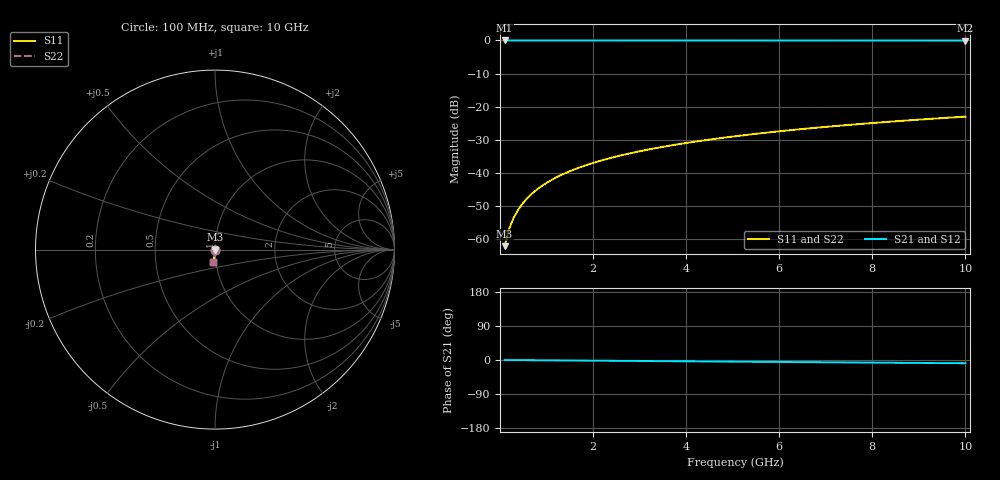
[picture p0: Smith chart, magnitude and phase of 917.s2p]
# Hz S RI R 50.00
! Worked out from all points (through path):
!   100 points, 100 MHz to 10 GHz, reference 50 ohm
!   highest |S21| = 0.00 dB at 100 MHz (marker M1); lowest = 0.0 dB at 10 GHz (marker M2)
!   group delay of S21, straight-line fit = 2.39 ps
!   lowest |S11| = -62.0 dB at 100 MHz (marker M3), VSWR 1.00, Z = 50 - j0.0711 ohm
!   |S11| at or under -10 dB: start of sweep to end of sweep
!   |S22| runs from -62.0 to -23.0 dB; largest |S21 - S12| = 0
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1e8  0.000348 -0.000711  0.9996 -0.0015  0.9996 -0.0015  0.000348 -0.000711
2e8  0.000346 -0.00142  0.9996 -0.00299  0.9996 -0.00299  0.000346 -0.00142
3e8  0.000342 -0.00213  0.9996 -0.00449  0.9996 -0.00449  0.000342 -0.00213
4e8  0.000335 -0.00284  0.9996 -0.00598  0.9996 -0.00598  0.000335 -0.00284
5e8  0.000325 -0.00355  0.9996 -0.00748  0.9996 -0.00748  0.000325 -0.00355
6e8  0.000314 -0.00427  0.9996 -0.00897  0.9996 -0.00897  0.000314 -0.00427
7e8  0.0003 -0.00498  0.9996 -0.0105  0.9996 -0.0105  0.0003 -0.00498
8e8  0.000284 -0.00569  0.9995 -0.012  0.9995 -0.012  0.000284 -0.00569
9e8  0.000265 -0.0064  0.9995 -0.0135  0.9995 -0.0135  0.000265 -0.0064
1.1e9  0.000222 -0.00782  0.9995 -0.0164  0.9995 -0.0164  0.000222 -0.00782
1.4e9  0.000142 -0.00995  0.9994 -0.0209  0.9994 -0.0209  0.000142 -0.00995
1.8e9  3.73e-06 -0.0128  0.9992 -0.0269  0.9992 -0.0269  3.73e-06 -0.0128
2.1e9  -0.000122 -0.0149  0.999 -0.0314  0.999 -0.0314  -0.000122 -0.0149
2.5e9  -0.00032 -0.0178  0.9987 -0.0374  0.9987 -0.0374  -0.00032 -0.0178
2.9e9  -0.000552 -0.0206  0.9984 -0.0434  0.9984 -0.0434  -0.000552 -0.0206
3.4e9  -0.00089 -0.0241  0.998 -0.0508  0.998 -0.0508  -0.00089 -0.0241
4.2e9  -0.00154 -0.0298  0.9972 -0.0628  0.9972 -0.0628  -0.00154 -0.0298
5.1e9  -0.00244 -0.0362  0.996 -0.0762  0.996 -0.0762  -0.00244 -0.0362
5.9e9  -0.00338 -0.0418  0.9948 -0.0881  0.9948 -0.0881  -0.00338 -0.0418
6.7e9  -0.00445 -0.0474  0.9934 -0.1  0.9934 -0.1  -0.00445 -0.0474
8.4e9  -0.00719 -0.0593  0.9898 -0.1253  0.9898 -0.1253  -0.00719 -0.0593
1e10  -0.0103 -0.0703  0.9858 -0.1489  0.9858 -0.1489  -0.0103 -0.0703
